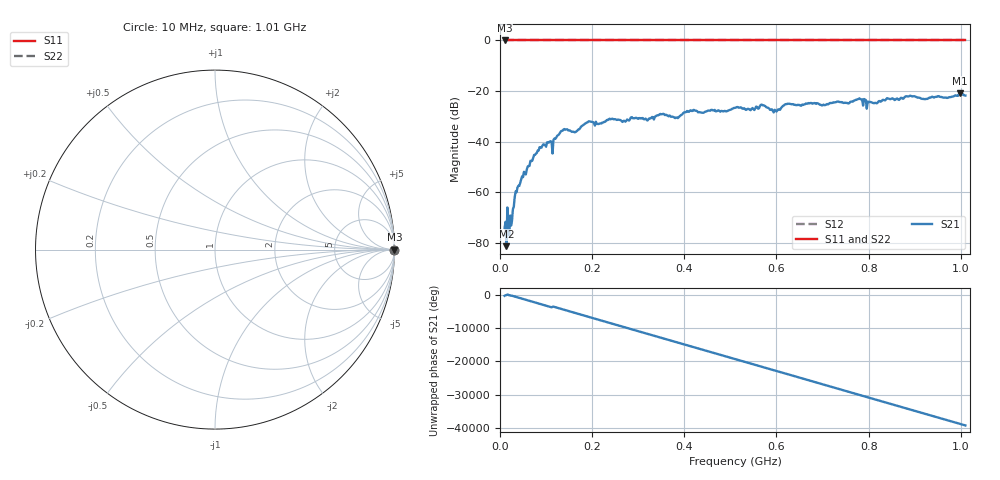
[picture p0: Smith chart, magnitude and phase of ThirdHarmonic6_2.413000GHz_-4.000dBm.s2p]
! 8/17/2025 4:03:35 AM
! C:\ANRITSUVNA\TEMP\TEMP.S2P
! CHANNEL.1
! TR.MEASUREMENT
! RAW.DATA
! RF.CORRECTION.OFF
! AVERAGING.OFF
! IF.BANDWIDTH: 5KHZ
! SWEEPTYPE:  FREQ.SWEEP(Linear)
! Reference Plane Port Info
! PORT:  PORT1  PORT2
! DISTANCE:  0  m  0  m
! TIME:  0  s  0  s
! PHASE.OFFSET:  0  deg.  0  deg.
! LOSS:  0  dB  0  dB
! REF.LOSS:  0  dB  0  dB
! REF.FREQ:  0  Hz  0  Hz
! Power Info
! POWER:  -20  dBm  -20  dBm
! EFF.POWER:  -20  dBm  -20  dBm
! SOURCE.ATTEN:  0  dB  0  dB
! TEST.ATTEN:  0  dB  0  dB
# GHZ S RI R 50.0
! FREQ.GHZ  S11RE  S11IM  S21RE  S21IM  S12RE  S12IM  S22RE  S22IM
!; PortSelection: Port_12
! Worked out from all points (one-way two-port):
!   501 points, 10 MHz to 1.01 GHz, reference 50 ohm
!   highest |S21| = -20.91 dB at 998 MHz (marker M1); lowest = -81.2 dB at 14 MHz (marker M2)
!   lowest |S11| = 0.0 dB at 10 MHz (marker M3)
!   |S11| at or under -10 dB: nowhere
!   |S22| runs from 0.0 to 0.0 dB; largest |S21 - S12| = 1.1
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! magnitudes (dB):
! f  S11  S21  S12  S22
! 10 MHz  0.0  -74.1  0.0  0.0
! 14 MHz  0.0  -81.2  0.0  0.0
! 22 MHz  0.0  -69.1  0.0  0.0
! 36 MHz  0.0  -59.9  0.0  0.0
! 48 MHz  0.0  -53.6  0.0  0.0
! 84 MHz  0.0  -43.4  0.0  0.0
! 116 MHz  0.0  -39.3  0.0  0.0
! 136 MHz  0.0  -35.6  0.0  0.0
! 162 MHz  0.0  -36.3  0.0  0.0
! 178 MHz  0.0  -33.8  0.0  0.0
! 344 MHz  0.0  -29.5  0.0  0.0
! 384 MHz  0.0  -30.4  0.0  0.0
! 416 MHz  0.0  -27.8  0.0  0.0
! 510 MHz  0.0  -26.6  0.0  0.0
! 570 MHz  0.0  -25.6  0.0  0.0
! 596 MHz  0.0  -27.4  0.0  0.0
! 622 MHz  0.0  -25.1  0.0  0.0
! 678 MHz  0.0  -24.9  0.0  0.0
! 814 MHz  0.0  -24.6  0.0  0.0
! 844 MHz  0.0  -23.0  0.0  0.0
! 998 MHz  0.0  -20.9  0.0  0.0
! 1.01 GHz  0.0  -21.7  0.0  0.0
